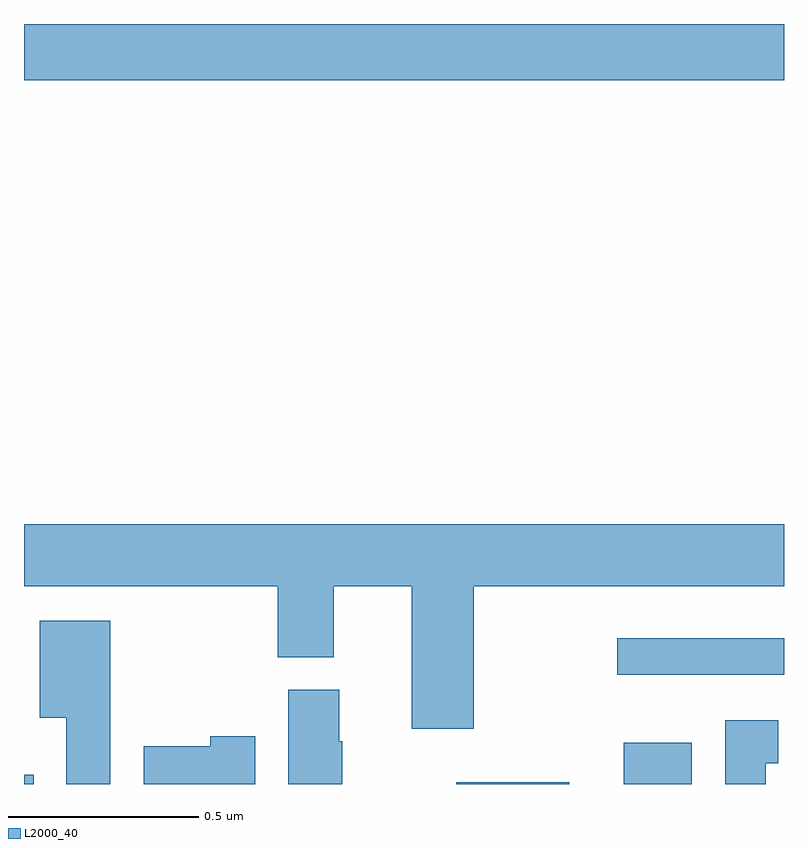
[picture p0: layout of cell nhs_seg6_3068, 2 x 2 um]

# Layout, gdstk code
import gdstk
lib = gdstk.Library(unit=1e-6, precision=1e-09)
def R(c, l, rs):  # rectangles x0, y0, x1, y1
    for r in rs: c.add(gdstk.rectangle(r[:2], r[2:], *l))
def P(c, l, *ps):  # polygons
    for p in ps: c.add(gdstk.Polygon(p, *l))
L2000_40 = (2000, 40)

nhs_seg6_3068 = lib.new_cell('nhs_seg6_3068')
R(nhs_seg6_3068, L2000_40, [(152,929.5,152.026,929.524), (153.138,929.5,153.435,929.504), (153.578,929.5,153.757,929.608), (153.561,929.787,154,929.884), (152,931.352,154,931.5)])
P(nhs_seg6_3068, L2000_40, [(153.184,930.02),(154,930.02),(154,930.184),(152,930.184),(152,930.02),(152.668,930.02),(152.668,929.833),(152.815,929.833),(152.815,930.02),(153.02,930.02),(153.02,929.646),(153.184,929.646)],
  [(152.227,929.929),(152.042,929.929),(152.042,929.675),(152.111,929.675),(152.111,929.5),(152.227,929.5)],
  [(152.838,929.612),(152.83,929.612),(152.83,929.748),(152.696,929.748),(152.696,929.5),(152.838,929.5)],
  [(153.952,929.555),(153.985,929.555),(153.985,929.668),(153.845,929.668),(153.845,929.5),(153.952,929.5)],
  [(152.608,929.626),(152.49,929.626),(152.49,929.599),(152.315,929.599),(152.315,929.5),(152.608,929.5)])

lib.write_gds('nhs_seg6_3068.gds')
